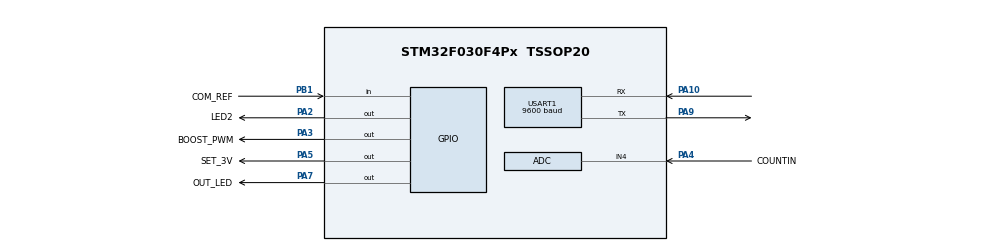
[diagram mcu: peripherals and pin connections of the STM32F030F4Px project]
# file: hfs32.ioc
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ADC.ContinuousConvMode=ENABLE
ADC.DMAContinuousRequests=ENABLE
ADC.LowPowerAutoPowerOff=DISABLE
ADC.LowPowerAutoWait=DISABLE
ADC.SamplingTime=ADC_SAMPLETIME_55CYCLES_5
Dma.ADC.2.Direction=DMA_PERIPH_TO_MEMORY
Dma.ADC.2.Instance=DMA1_Channel1
Dma.ADC.2.MemDataAlignment=DMA_MDATAALIGN_HALFWORD
Dma.ADC.2.MemInc=DMA_MINC_ENABLE
Dma.ADC.2.Mode=DMA_CIRCULAR
Dma.ADC.2.PeriphDataAlignment=DMA_PDATAALIGN_HALFWORD
Dma.ADC.2.PeriphInc=DMA_PINC_DISABLE
Dma.ADC.2.Priority=DMA_PRIORITY_VERY_HIGH
Dma.Request0=USART1_TX
Dma.Request1=USART1_RX
Dma.Request2=ADC
Dma.USART1_RX.1.Direction=DMA_PERIPH_TO_MEMORY
Dma.USART1_RX.1.Instance=DMA1_Channel3
Dma.USART1_RX.1.MemDataAlignment=DMA_MDATAALIGN_BYTE
Dma.USART1_RX.1.MemInc=DMA_MINC_ENABLE
Dma.USART1_RX.1.Mode=DMA_NORMAL
Dma.USART1_RX.1.PeriphDataAlignment=DMA_PDATAALIGN_BYTE
Dma.USART1_RX.1.PeriphInc=DMA_PINC_DISABLE
Dma.USART1_RX.1.Priority=DMA_PRIORITY_LOW
Dma.USART1_TX.0.Direction=DMA_MEMORY_TO_PERIPH
Dma.USART1_TX.0.Instance=DMA1_Channel2
Dma.USART1_TX.0.MemDataAlignment=DMA_MDATAALIGN_BYTE
Dma.USART1_TX.0.MemInc=DMA_MINC_ENABLE
Dma.USART1_TX.0.Mode=DMA_NORMAL
Dma.USART1_TX.0.PeriphDataAlignment=DMA_PDATAALIGN_BYTE
Dma.USART1_TX.0.PeriphInc=DMA_PINC_DISABLE
Dma.USART1_TX.0.Priority=DMA_PRIORITY_HIGH
Mcu.Family=STM32F0
Mcu.Name=STM32F030F4Px
Mcu.Package=TSSOP20
NVIC.ADC1_IRQn=true\:1\:0\:true\:false\:true\:true\:true
NVIC.DMA1_Channel1_IRQn=true\:0\:0\:false\:false\:true\:false\:true
NVIC.DMA1_Channel2_3_IRQn=true\:0\:0\:false\:false\:true\:false\:true
NVIC.TIM16_IRQn=true\:0\:0\:false\:false\:true\:true\:true
NVIC.USART1_IRQn=true\:3\:0\:true\:false\:true\:true\:true
PA10.GPIO_PuPd=GPIO_PULLUP
PA10.Mode=Asynchronous
PA10.Signal=USART1_RX
PA2.GPIO_Label=LED2
PA2.GPIO_PuPd=GPIO_PULLUP
PA2.GPIO_Speed=GPIO_SPEED_FREQ_HIGH
PA2.PinState=GPIO_PIN_SET
PA2.Signal=GPIO_Output
PA3.GPIO_Label=BOOST_PWM
PA3.GPIO_PuPd=GPIO_PULLUP
PA3.GPIO_Speed=GPIO_SPEED_FREQ_HIGH
PA3.PinState=GPIO_PIN_SET
PA3.Signal=GPIO_Output
PA4.GPIO_Label=COUNTIN
PA4.Mode=IN4
PA4.Signal=ADC_IN4
PA5.GPIO_Label=SET_3V
PA5.GPIO_PuPd=GPIO_PULLUP
PA5.Signal=GPIO_Output
PA7.GPIO_Label=OUT_LED
PA7.GPIO_PuPd=GPIO_PULLUP
PA7.GPIO_Speed=GPIO_SPEED_FREQ_HIGH
PA7.PinState=GPIO_PIN_SET
PA7.Signal=GPIO_Output
PA9.GPIO_PuPd=GPIO_PULLUP
PA9.Mode=Asynchronous
PA9.Signal=USART1_TX
PB1.GPIO_Label=COM_REF
PB1.Signal=GPIO_Input
ProjectManager.HeapSize=0x200
ProjectManager.StackSize=0x400
ProjectManager.TargetToolchain=MDK-ARM V5
RCC.AHBFreq_Value=8000000
RCC.APB1Freq_Value=8000000
RCC.APB1TimFreq_Value=8000000
RCC.HCLKFreq_Value=8000000
TIM16.Period=10-1
TIM16.Prescaler=800-1
USART1.BaudRate=9600
USART1.VirtualMode-Asynchronous=VM_ASYNC
VP_RTC_VS_RTC_Activate.Mode=RTC_Enabled
VP_RTC_VS_RTC_Calendar.Mode=RTC_Calendar
VP_TIM16_VS_ClockSourceINT.Mode=Enable_Timer
board=custom

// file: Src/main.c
/* USER CODE BEGIN Header */
/**
  ******************************************************************************
  * @file           : main.c
  * @brief          : Main program body
  ******************************************************************************
  * @attention
  *
  * <h2><center>&copy; Copyright (c) 2019 STMicroelectronics.
  * All rights reserved.</center></h2>
  *
  * This software component is licensed by ST under BSD 3-Clause license,
  * the "License"; You may not use this file except in compliance with the
  * License. You may obtain a copy of the License at:
  *                        opensource.org/licenses/BSD-3-Clause
  *
  ******************************************************************************
  */
/* USER CODE END Header */

#include "main.h"

/* USER CODE BEGIN Includes */
#include "string.h"

void DMA_Usart_Send(uint8_t *buf,uint8_t len);//串口发送封装
void DMA_Usart1_Read(uint8_t *Data,uint8_t len);//串口接收封装

/* USER CODE END Includes */

/* USER CODE BEGIN PTD */

int a;
int tt16_1ms,tt16_1s;

__IO ITStatus UartReady = SET;

//uint8_t aTxStartMessages[] = "\r\n******UART commucition using IT******\r\nPlease enter 10 characters:\r\n";
//uint8_t aRxBuffer[20];

volatile uint8_t rx_len = 0;           //接收一帧数据的长度
volatile uint8_t recv_end_flag = 0;    //一帧数据接收完成标志
uint8_t rx_buffer[50]={0};            //接收数据缓存

//ADC DMA
uint32_t AD_Buf[ADC_CHANNEL_CNT];
uint32_t DMA_CNT = 0;

/* USER CODE END PTD */

ADC_HandleTypeDef hadc;
DMA_HandleTypeDef hdma_adc;

RTC_HandleTypeDef hrtc;

TIM_HandleTypeDef htim16;

UART_HandleTypeDef huart1;
DMA_HandleTypeDef hdma_usart1_tx;
DMA_HandleTypeDef hdma_usart1_rx;

void SystemClock_Config(void);
static void MX_GPIO_Init(void);
static void MX_DMA_Init(void);
static void MX_USART1_UART_Init(void);
static void MX_RTC_Init(void);
static void MX_TIM16_Init(void);
static void MX_ADC_Init(void);

int main(void)
{

  /* MCU Configuration--------------------------------------------------------*/

  /* Reset of all peripherals, Initializes the Flash interface and the Systick. */
  HAL_Init();

  /* Configure the system clock */
  SystemClock_Config();

  /* Initialize all configured peripherals */
  MX_GPIO_Init();
  MX_DMA_Init();
  MX_USART1_UART_Init();
  MX_RTC_Init();
  MX_TIM16_Init();
  MX_ADC_Init();
  /* USER CODE BEGIN 2 */
    /*使能定时器1中断*/
		    if(HAL_TIM_Base_Start_IT(&htim16) != HAL_OK)
					{
                /* Starting Error */
                while(1);
					}

//	        HAL_UART_Receive_IT(&huart1,(uint8_t*)rx_buffer,10);
				  HAL_UART_Receive_DMA(&huart1,rx_buffer,BUFFER_SIZE);//重新打开DMA接收
					__HAL_UART_ENABLE_IT(&huart1, UART_IT_IDLE);

					HAL_ADC_Start_DMA(&hadc, (uint32_t*)&AD_Buf, ADC_CHANNEL_CNT);

//       printf("\n使用函数Printf函数发送数据!\r\n");//ok
  /* USER CODE END 2 */

  /* Infinite loop */
  /* USER CODE BEGIN WHILE */
					tt16_1ms=0;
					tt16_1s=0;
					HAL_GPIO_WritePin(GPIOA, BOOST_PWM_Pin, GPIO_PIN_RESET);//SET 高电平  RESET 低电平

  while (1)
  {
    /* USER CODE END WHILE */

    /* USER CODE BEGIN 3 */

  			if(recv_end_flag==1) //接收完成标志 ==1
				{

//						memset(rx_buffer,0,sizeof(rx_buffer));
						HAL_UART_Transmit_DMA(&huart1,rx_buffer,rx_len);
					  HAL_UART_Receive_DMA(&huart1,rx_buffer,BUFFER_SIZE);//重新打开DMA接收
					  rx_len = 0;//清除计数
					  recv_end_flag = 0;//清除接收结束标志位
        }

				if (tt16_1ms < 1000)//1ms
           {
					     HAL_GPIO_WritePin(LED2_GPIO_Port, LED2_Pin, GPIO_PIN_SET);
						   for(int i=0;i<ADC_CHANNEL_CNT;i++)printf("CH%d value = %d \r\n",i,AD_Buf[i]&0xFFF);
					 }
			 if (tt16_1ms >= 1000)
				   {
						   HAL_GPIO_WritePin(LED2_GPIO_Port, LED2_Pin, GPIO_PIN_RESET);
				   }
			 if (tt16_1ms >= 2000)
				   {
						 tt16_1ms = 0;
					 }

       if (tt16_1s < 1000)//1s
           {
					     HAL_GPIO_WritePin(BOOST_PWM_GPIO_Port, BOOST_PWM_Pin, GPIO_PIN_RESET);

					 }
			 if (tt16_1s >= 1000)
				   {
						   HAL_GPIO_WritePin(BOOST_PWM_GPIO_Port, BOOST_PWM_Pin, GPIO_PIN_SET);
						   tt16_1s = 0;
				   }
 			 if (tt16_1s >= 1010)
				   {
						   tt16_1s = 0;
				   }
  }
  /* USER CODE END 3 */
}

void SystemClock_Config(void)
{
  RCC_OscInitTypeDef RCC_OscInitStruct = {0};
  RCC_ClkInitTypeDef RCC_ClkInitStruct = {0};
  RCC_PeriphCLKInitTypeDef PeriphClkInit = {0};

  /** Initializes the CPU, AHB and APB busses clocks
  */
  RCC_OscInitStruct.OscillatorType = RCC_OSCILLATORTYPE_HSI|RCC_OSCILLATORTYPE_HSI14
                              |RCC_OSCILLATORTYPE_LSI;
  RCC_OscInitStruct.HSIState = RCC_HSI_ON;
  RCC_OscInitStruct.HSI14State = RCC_HSI14_ON;
  RCC_OscInitStruct.HSICalibrationValue = RCC_HSICALIBRATION_DEFAULT;
  RCC_OscInitStruct.HSI14CalibrationValue = 16;
  RCC_OscInitStruct.LSIState = RCC_LSI_ON;
  RCC_OscInitStruct.PLL.PLLState = RCC_PLL_NONE;
  if (HAL_RCC_OscConfig(&RCC_OscInitStruct) != HAL_OK)
  {
    Error_Handler();
  }
  /** Initializes the CPU, AHB and APB busses clocks
  */
  RCC_ClkInitStruct.ClockType = RCC_CLOCKTYPE_HCLK|RCC_CLOCKTYPE_SYSCLK
                              |RCC_CLOCKTYPE_PCLK1;
  RCC_ClkInitStruct.SYSCLKSource = RCC_SYSCLKSOURCE_HSI;
  RCC_ClkInitStruct.AHBCLKDivider = RCC_SYSCLK_DIV1;
  RCC_ClkInitStruct.APB1CLKDivider = RCC_HCLK_DIV1;

  if (HAL_RCC_ClockConfig(&RCC_ClkInitStruct, FLASH_LATENCY_0) != HAL_OK)
  {
    Error_Handler();
  }
  PeriphClkInit.PeriphClockSelection = RCC_PERIPHCLK_USART1|RCC_PERIPHCLK_RTC;
  PeriphClkInit.Usart1ClockSelection = RCC_USART1CLKSOURCE_PCLK1;
  PeriphClkInit.RTCClockSelection = RCC_RTCCLKSOURCE_LSI;
  if (HAL_RCCEx_PeriphCLKConfig(&PeriphClkInit) != HAL_OK)
  {
    Error_Handler();
  }
}

static void MX_ADC_Init(void)
{

  ADC_ChannelConfTypeDef sConfig = {0};

  /** Configure the global features of the ADC (Clock, Resolution, Data Alignment and number of conversion)
  */
  hadc.Instance = ADC1;
  hadc.Init.ClockPrescaler = ADC_CLOCK_ASYNC_DIV1;
  hadc.Init.Resolution = ADC_RESOLUTION_12B;
  hadc.Init.DataAlign = ADC_DATAALIGN_RIGHT;
  hadc.Init.ScanConvMode = ADC_SCAN_DIRECTION_FORWARD;
  hadc.Init.EOCSelection = ADC_EOC_SINGLE_CONV;
  hadc.Init.LowPowerAutoWait = DISABLE;
  hadc.Init.LowPowerAutoPowerOff = DISABLE;
  hadc.Init.ContinuousConvMode = ENABLE;
  hadc.Init.DiscontinuousConvMode = DISABLE;
  hadc.Init.ExternalTrigConv = ADC_SOFTWARE_START;
  hadc.Init.ExternalTrigConvEdge = ADC_EXTERNALTRIGCONVEDGE_NONE;
  hadc.Init.DMAContinuousRequests = ENABLE;
  hadc.Init.Overrun = ADC_OVR_DATA_PRESERVED;
  if (HAL_ADC_Init(&hadc) != HAL_OK)
  {
    Error_Handler();
  }
  /** Configure for the selected ADC regular channel to be converted.
  */
  sConfig.Channel = ADC_CHANNEL_4;
  sConfig.Rank = ADC_RANK_CHANNEL_NUMBER;
  sConfig.SamplingTime = ADC_SAMPLETIME_55CYCLES_5;
  if (HAL_ADC_ConfigChannel(&hadc, &sConfig) != HAL_OK)
  {
    Error_Handler();
  }

}

static void MX_RTC_Init(void)
{

  RTC_TimeTypeDef sTime = {0};
  RTC_DateTypeDef sDate = {0};

  /** Initialize RTC Only
  */
  hrtc.Instance = RTC;
  hrtc.Init.HourFormat = RTC_HOURFORMAT_24;
  hrtc.Init.AsynchPrediv = 127;
  hrtc.Init.SynchPrediv = 255;
  hrtc.Init.OutPut = RTC_OUTPUT_DISABLE;
  hrtc.Init.OutPutPolarity = RTC_OUTPUT_POLARITY_HIGH;
  hrtc.Init.OutPutType = RTC_OUTPUT_TYPE_OPENDRAIN;
  if (HAL_RTC_Init(&hrtc) != HAL_OK)
  {
    Error_Handler();
  }

  /** Initialize RTC and set the Time and Date
  */
  sTime.Hours = 0x0;
  sTime.Minutes = 0x0;
  sTime.Seconds = 0x0;
  sTime.DayLightSaving = RTC_DAYLIGHTSAVING_NONE;
  sTime.StoreOperation = RTC_STOREOPERATION_RESET;
  if (HAL_RTC_SetTime(&hrtc, &sTime, RTC_FORMAT_BCD) != HAL_OK)
  {
    Error_Handler();
  }
  sDate.WeekDay = RTC_WEEKDAY_MONDAY;
  sDate.Month = RTC_MONTH_JANUARY;
  sDate.Date = 0x1;
  sDate.Year = 0x0;

  if (HAL_RTC_SetDate(&hrtc, &sDate, RTC_FORMAT_BCD) != HAL_OK)
  {
    Error_Handler();
  }

}

static void MX_TIM16_Init(void)
{

  htim16.Instance = TIM16;
  htim16.Init.Prescaler = 800-1;
  htim16.Init.CounterMode = TIM_COUNTERMODE_UP;
  htim16.Init.Period = 10-1;
  htim16.Init.ClockDivision = TIM_CLOCKDIVISION_DIV1;
  htim16.Init.RepetitionCounter = 0;
  htim16.Init.AutoReloadPreload = TIM_AUTORELOAD_PRELOAD_DISABLE;
  if (HAL_TIM_Base_Init(&htim16) != HAL_OK)
  {
    Error_Handler();
  }

}

static void MX_USART1_UART_Init(void)
{

  huart1.Instance = USART1;
  huart1.Init.BaudRate = 9600;
  huart1.Init.WordLength = UART_WORDLENGTH_8B;
  huart1.Init.StopBits = UART_STOPBITS_1;
  huart1.Init.Parity = UART_PARITY_NONE;
  huart1.Init.Mode = UART_MODE_TX_RX;
  huart1.Init.HwFlowCtl = UART_HWCONTROL_NONE;
  huart1.Init.OverSampling = UART_OVERSAMPLING_16;
  huart1.Init.OneBitSampling = UART_ONE_BIT_SAMPLE_DISABLE;
  huart1.AdvancedInit.AdvFeatureInit = UART_ADVFEATURE_NO_INIT;
  if (HAL_UART_Init(&huart1) != HAL_OK)
  {
    Error_Handler();
  }
  /* USER CODE BEGIN USART1_Init 2 */
  __HAL_UART_ENABLE_IT(&huart1, UART_IT_IDLE);          //使能IDLE中断
  /* USER CODE END USART1_Init 2 */

}

static void MX_DMA_Init(void)
{
  /* DMA controller clock enable */
  __HAL_RCC_DMA1_CLK_ENABLE();

  /* DMA interrupt init */
  /* DMA1_Channel1_IRQn interrupt configuration */
  HAL_NVIC_SetPriority(DMA1_Channel1_IRQn, 0, 0);
  HAL_NVIC_EnableIRQ(DMA1_Channel1_IRQn);
  /* DMA1_Channel2_3_IRQn interrupt configuration */
  HAL_NVIC_SetPriority(DMA1_Channel2_3_IRQn, 0, 0);
  HAL_NVIC_EnableIRQ(DMA1_Channel2_3_IRQn);

}

static void MX_GPIO_Init(void)
{
  GPIO_InitTypeDef GPIO_InitStruct = {0};

  /* GPIO Ports Clock Enable */
  __HAL_RCC_GPIOA_CLK_ENABLE();
  __HAL_RCC_GPIOB_CLK_ENABLE();

  /*Configure GPIO pin Output Level */
  HAL_GPIO_WritePin(GPIOA, LED2_Pin|BOOST_PWM_Pin|OUT_LED_Pin, GPIO_PIN_SET);

  /*Configure GPIO pin Output Level */
  HAL_GPIO_WritePin(SET_3V_GPIO_Port, SET_3V_Pin, GPIO_PIN_RESET);

  /*Configure GPIO pins : LED2_Pin BOOST_PWM_Pin OUT_LED_Pin */
  GPIO_InitStruct.Pin = LED2_Pin|BOOST_PWM_Pin|OUT_LED_Pin;
  GPIO_InitStruct.Mode = GPIO_MODE_OUTPUT_PP;
  GPIO_InitStruct.Pull = GPIO_PULLUP;
  GPIO_InitStruct.Speed = GPIO_SPEED_FREQ_HIGH;
  HAL_GPIO_Init(GPIOA, &GPIO_InitStruct);

  /*Configure GPIO pin : SET_3V_Pin */
  GPIO_InitStruct.Pin = SET_3V_Pin;
  GPIO_InitStruct.Mode = GPIO_MODE_OUTPUT_PP;
  GPIO_InitStruct.Pull = GPIO_PULLUP;
  GPIO_InitStruct.Speed = GPIO_SPEED_FREQ_LOW;
  HAL_GPIO_Init(SET_3V_GPIO_Port, &GPIO_InitStruct);

  /*Configure GPIO pin : COM_REF_Pin */
  GPIO_InitStruct.Pin = COM_REF_Pin;
  GPIO_InitStruct.Mode = GPIO_MODE_INPUT;
  GPIO_InitStruct.Pull = GPIO_NOPULL;
  HAL_GPIO_Init(COM_REF_GPIO_Port, &GPIO_InitStruct);

}

/* USER CODE BEGIN 4 */
void HAL_UART_RxCpltCallback(UART_HandleTypeDef *huart)
{
	UNUSED(huart);
	HAL_UART_Transmit(&huart1,(uint8_t*)rx_buffer,10,0xFFFF);//(uint8_t*)aRxBuffer为字符串地址，10为字符串长度，0xFFFF为超时时间

}

void HAL_TIM_PeriodElapsedCallback(TIM_HandleTypeDef *htim)
{
  UNUSED(htim);//1ms定时器
	tt16_1ms++;
	tt16_1s++;
}

void HAL_ADC_ConvCpltCallback(ADC_HandleTypeDef* hadc)
{

}

/*
*********************************************************************************************************
*    函 数 名: DMA_Usart_Send
*    功能说明: 串口发送功能函数
*    形    参: buf，len
*    返 回 值: 无
*********************************************************************************************************
*/
void DMA_Usart1_Send(uint8_t *buf,uint8_t len)//串口发送封装
{
   if(HAL_UART_Transmit_DMA(&huart1, buf,len)!= HAL_OK)
        {
            Error_Handler();
        }
    /*##-3- Wait for the end of the transfer ###################################*/
    while (UartReady != SET){}
    /* Reset transmission flag */
    UartReady = RESET;
}

/*
*********************************************************************************************************
*    函 数 名: DMA_Usart1_Read
*    功能说明: 串口接收功能函数
*    形    参: Data,len
*    返 回 值: 无
*********************************************************************************************************
*/
void DMA_Usart1_Read(uint8_t *Data,uint8_t len)//串口接收封装
{
   HAL_UART_Receive_DMA(&huart1,Data,len);//重新打开DMA接收
}

uint8_t ch;
uint8_t ch_r;

//重写这个函数,重定向printf函数到串口，意思就是说printf直接输出到串口，其默认输出到控制台的
/*fputc*/
int fputc(int c, FILE * f)
{
    ch=c;
    HAL_UART_Transmit(&huart1,&ch,1,1000);//发送串口
    return c;
}

//重定向scanf函数到串口 意思就是说接受串口发过来的数据，其默认是接受控制台的数据
/*fgetc*/
int fgetc(FILE * F)
{
    HAL_UART_Receive (&huart1,&ch_r,1,0xffff);//接收
    return ch_r;
}

/* USER CODE END 4 */

void Error_Handler(void)
{
}

/************************ (C) COPYRIGHT STMicroelectronics *****END OF FILE****/
